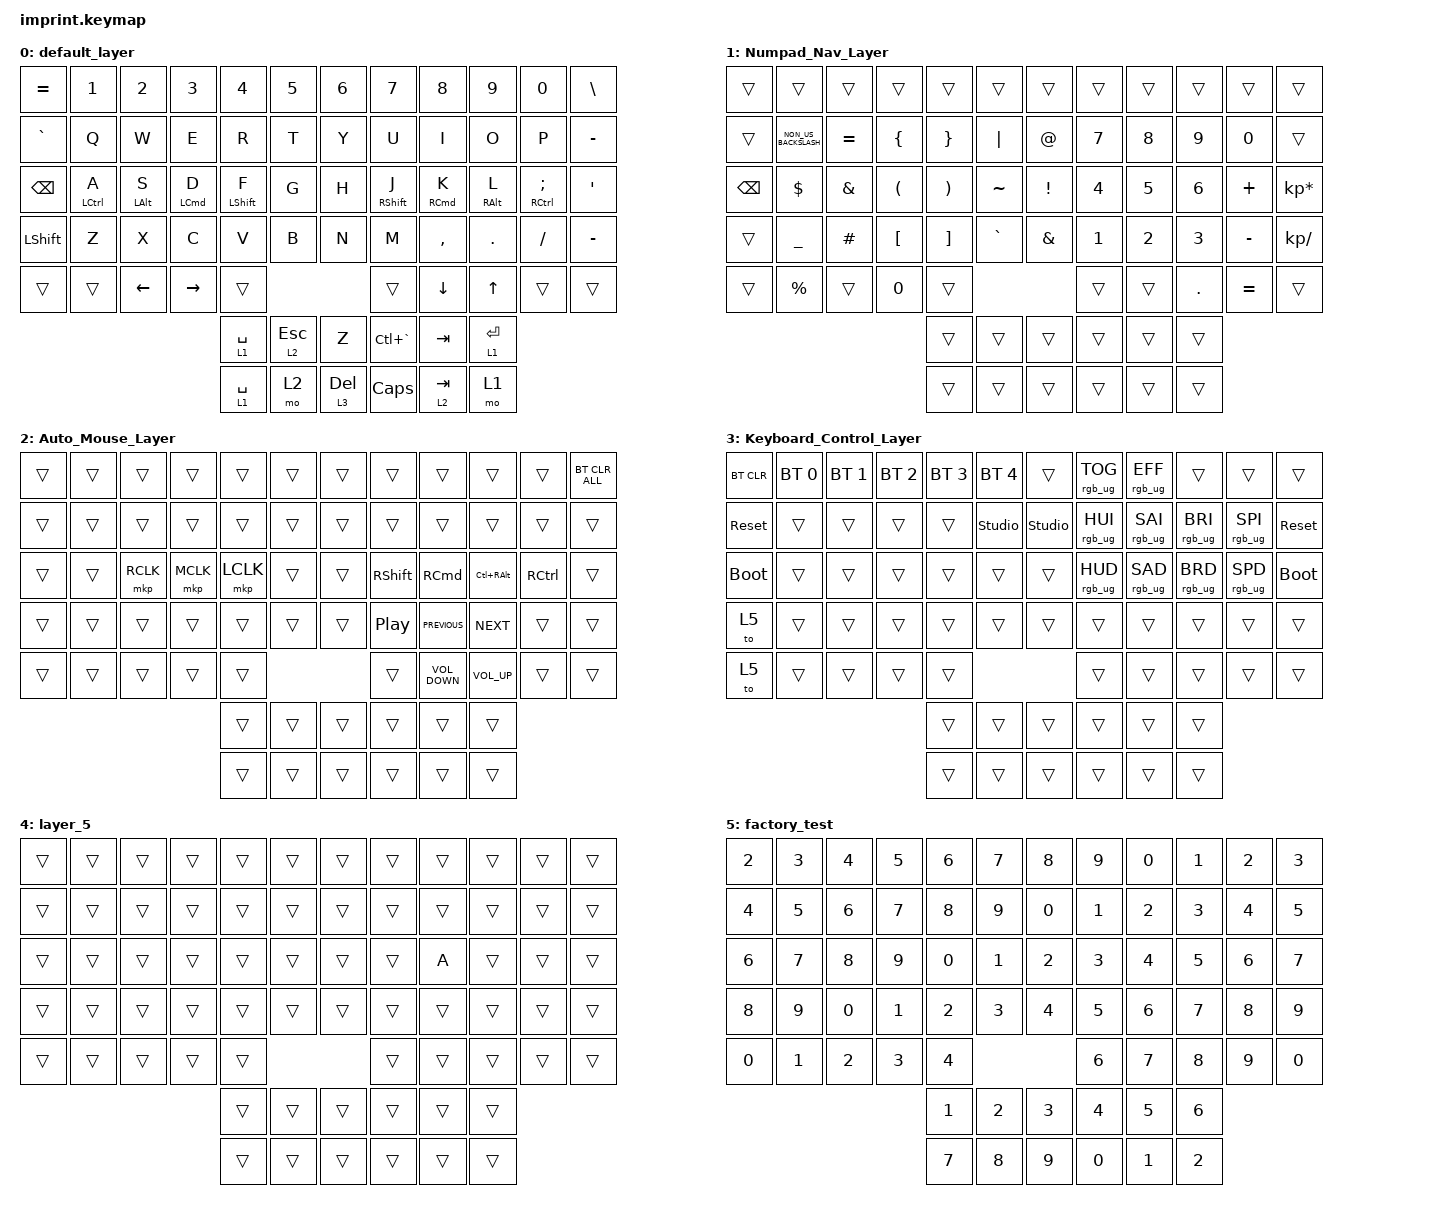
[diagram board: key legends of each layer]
#include <input/processors.dtsi>
#include <dt-bindings/zmk/input_transform.h>
#include <behaviors.dtsi>
#include <dt-bindings/zmk/bt.h>
#include <dt-bindings/zmk/keys.h>
#include <dt-bindings/zmk/pointing.h>
#include <dt-bindings/zmk/rgb.h>

/ {
    chosen { zmk,matrix-transform = &imprint_number_row_full_bottom_row; };

    behaviors {
        HRShiftRight: HRShiftRight {
            compatible = "zmk,behavior-hold-tap";
            label = "HRSHIFTRIGHT";
            bindings = <&kp>, <&kp>;

            #binding-cells = <2>;
            tapping-term-ms = <275>;
            hold-trigger-on-release;
            hold-trigger-key-positions = <0 1 2 3 4 5 12 13 14 15 16 17 24 25 26 27 28 29 36 37 38 39 40 41 48 49 50 51 52>;
            flavor = "balanced";
            quick-tap-ms = <150>;
            require-prior-idle-ms = <150>;
        };

        HRShiftLeft: HRShiftLeft {
            compatible = "zmk,behavior-hold-tap";
            label = "HRSHIFTLEFT";
            bindings = <&kp>, <&kp>;

            #binding-cells = <2>;
            tapping-term-ms = <275>;
            hold-trigger-on-release;
            hold-trigger-key-positions = <6 7 8 9 10 11 18 19 20 21 22 23 30 31 32 33 34 35 42 43 44 45 46 47 53 54 55 56 57>;
            quick-tap-ms = <150>;
            require-prior-idle-ms = <150>;
            flavor = "balanced";
        };

        HMR: HMR {
            compatible = "zmk,behavior-hold-tap";
            label = "HMR";
            bindings = <&kp>, <&kp>;

            #binding-cells = <2>;
            tapping-term-ms = <200>;
            hold-while-undecided;
            hold-trigger-on-release;
            hold-trigger-key-positions = <0 1 2 3 4 5 12 13 14 15 16 17 24 25 26 27 28 29 36 37 38 39 40 41 48 49 50 51 52>;
            flavor = "tap-preferred";
            require-prior-idle-ms = <125>;
        };

        HRL: HRL {
            compatible = "zmk,behavior-hold-tap";
            label = "HRL";
            bindings = <&kp>, <&kp>;

            #binding-cells = <2>;
            tapping-term-ms = <200>;
            hold-while-undecided;
            hold-trigger-on-release;
            hold-trigger-key-positions = <6 7 8 9 10 11 18 19 20 21 22 23 30 31 32 33 34 35 42 43 44 45 46 47 53 54 55 56 57>;
            flavor = "tap-preferred";
            require-prior-idle-ms = <125>;
        };
    };

    keymap {
        compatible = "zmk,keymap";

        default_layer {
            bindings = <
&kp EQUAL      &kp N1               &kp N2           &kp N3               &kp N4                     &kp N5                        &kp N6         &kp N7                       &kp N8                &kp N9            &kp N0                   &kp BACKSLASH
&kp GRAVE      &kp Q                &kp W            &kp E                &kp R                      &kp T                         &kp Y          &kp U                        &kp I                 &kp O             &kp P                    &kp MINUS
&kp BACKSPACE  &HRL LEFT_CONTROL A  &HRL LEFT_ALT S  &HRL LEFT_COMMAND D  &HRShiftLeft LEFT_SHIFT F  &kp G                         &kp H          &HRShiftRight RIGHT_SHIFT J  &HMR RIGHT_COMMAND K  &HMR RIGHT_ALT L  &HMR RIGHT_CONTROL SEMI  &kp SQT
&kp LSHFT      &kp Z                &kp X            &kp C                &kp V                      &kp B                         &kp N          &kp M                        &kp COMMA             &kp DOT           &kp FSLH                 &kp MINUS
&trans         &trans               &kp LEFT         &kp RIGHT            &trans                                                                  &trans                       &kp DOWN_ARROW        &kp UP_ARROW      &trans                   &trans
                                                                          &lt 1 SPACE                &lt 2 ESCAPE  &kp Z           &kp LC(GRAVE)  &kp TAB                      &lt 1 ENTER
                                                                          &lt 1 SPACE                &mo 2         &lt 3 DELETE    &kp CAPS       &lt 2 TAB                    &mo 1
            >;
        };

        Numpad_Nav_Layer {
            bindings = <
&trans         &trans                &trans         &trans                &trans                 &trans               &trans           &trans        &trans        &trans        &trans     &trans
&trans         &kp NON_US_BACKSLASH  &kp EQUAL      &kp LEFT_BRACE        &kp RIGHT_BRACE        &kp PIPE             &kp AT_SIGN      &kp N7        &kp N8        &kp N9        &kp N0     &trans
&kp BACKSPACE  &kp DOLLAR            &kp AMPERSAND  &kp LEFT_PARENTHESIS  &kp RIGHT_PARENTHESIS  &kp TILDE            &kp EXCLAMATION  &kp NUMBER_4  &kp N5        &kp NUMBER_6  &kp PLUS   &kp KP_MULTIPLY
&trans         &kp UNDERSCORE        &kp HASH       &kp LEFT_BRACKET      &kp RIGHT_BRACKET      &kp GRAVE            &kp AMPERSAND    &kp NUMBER_1  &kp NUMBER_2  &kp NUMBER_3  &kp MINUS  &kp KP_DIVIDE
&trans         &kp PERCENT           &trans         &kp N0                &trans                                                       &trans        &trans        &kp PERIOD    &kp EQUAL  &trans
                                                                          &trans                 &trans     &trans    &trans           &trans        &trans
                                                                          &trans                 &trans     &trans    &trans           &trans        &trans
            >;
        };

        Auto_Mouse_Layer {
            bindings = <
&trans  &trans  &trans     &trans     &trans     &trans            &trans  &trans            &trans             &trans             &trans             &bt BT_CLR_ALL
&trans  &trans  &trans     &trans     &trans     &trans            &trans  &trans            &trans             &trans             &trans             &trans
&trans  &trans  &mkp RCLK  &mkp MCLK  &mkp LCLK  &trans            &trans  &kp RIGHT_SHIFT   &kp RIGHT_COMMAND  &kp LC(RIGHT_ALT)  &kp RIGHT_CONTROL  &trans
&trans  &trans  &trans     &trans     &trans     &trans            &trans  &kp C_PLAY_PAUSE  &kp C_PREVIOUS     &kp C_NEXT         &trans             &trans
&trans  &trans  &trans     &trans     &trans                               &trans            &kp C_VOLUME_DOWN  &kp C_VOLUME_UP    &trans             &trans
                                      &trans     &trans  &trans    &trans  &trans            &trans
                                      &trans     &trans  &trans    &trans  &trans            &trans
            >;
        };

        Keyboard_Control_Layer {
            bindings = <
&bt BT_CLR   &bt BT_SEL 0  &bt BT_SEL 1  &bt BT_SEL 2  &bt BT_SEL 3  &bt BT_SEL 4              &trans          &rgb_ug RGB_TOG  &rgb_ug RGB_EFF  &trans           &trans           &trans
&sys_reset   &trans        &trans        &trans        &trans        &studio_unlock            &studio_unlock  &rgb_ug RGB_HUI  &rgb_ug RGB_SAI  &rgb_ug RGB_BRI  &rgb_ug RGB_SPI  &sys_reset
&bootloader  &trans        &trans        &trans        &trans        &trans                    &trans          &rgb_ug RGB_HUD  &rgb_ug RGB_SAD  &rgb_ug RGB_BRD  &rgb_ug RGB_SPD  &bootloader
&to 5        &trans        &trans        &trans        &trans        &trans                    &trans          &trans           &trans           &trans           &trans           &trans
&to 5        &trans        &trans        &trans        &trans                                                  &trans           &trans           &trans           &trans           &trans
                                                       &trans        &trans          &trans    &trans          &trans           &trans
                                                       &trans        &trans          &trans    &trans          &trans           &trans
            >;
        };

        layer_5 {
            bindings = <
&trans  &trans  &trans  &trans  &trans  &trans            &trans  &trans  &trans  &trans  &trans  &trans
&trans  &trans  &trans  &trans  &trans  &trans            &trans  &trans  &trans  &trans  &trans  &trans
&trans  &trans  &trans  &trans  &trans  &trans            &trans  &trans  &kp A   &trans  &trans  &trans
&trans  &trans  &trans  &trans  &trans  &trans            &trans  &trans  &trans  &trans  &trans  &trans
&trans  &trans  &trans  &trans  &trans                            &trans  &trans  &trans  &trans  &trans
                                &trans  &trans  &trans    &trans  &trans  &trans
                                &trans  &trans  &trans    &trans  &trans  &trans
            >;
        };

        factory_test {
            bindings = <
&kp N2  &kp N3  &kp N4  &kp N5  &kp N6  &kp N7            &kp N8  &kp N9  &kp N0  &kp N1  &kp N2  &kp N3
&kp N4  &kp N5  &kp N6  &kp N7  &kp N8  &kp N9            &kp N0  &kp N1  &kp N2  &kp N3  &kp N4  &kp N5
&kp N6  &kp N7  &kp N8  &kp N9  &kp N0  &kp N1            &kp N2  &kp N3  &kp N4  &kp N5  &kp N6  &kp N7
&kp N8  &kp N9  &kp N0  &kp N1  &kp N2  &kp N3            &kp N4  &kp N5  &kp N6  &kp N7  &kp N8  &kp N9
&kp N0  &kp N1  &kp N2  &kp N3  &kp N4                            &kp N6  &kp N7  &kp N8  &kp N9  &kp N0
                                &kp N1  &kp N2  &kp N3    &kp N4  &kp N5  &kp N6
                                &kp N7  &kp N8  &kp N9    &kp N0  &kp N1  &kp N2
            >;
        };
    };
};

// right hand trackball configuration

&trackball_peripheral_listener { input-processors = <&zip_temp_layer 2 500>; };

//left hand trackball configuration

&trackball_central_listener {
    input-processors =
        <&zip_xy_scaler 1 16>,
        <&zip_xy_to_scroll_mapper>,
        <&zip_scroll_scaler 1 4>,
        <&zip_scroll_transform INPUT_TRANSFORM_Y_INVERT>,
        <&zip_temp_layer 2 500>;
};
